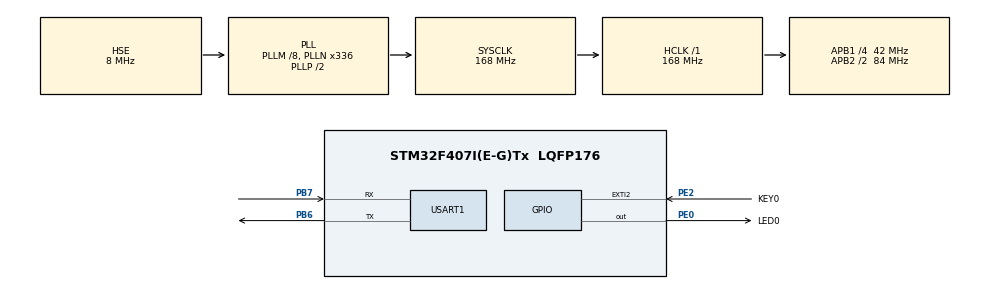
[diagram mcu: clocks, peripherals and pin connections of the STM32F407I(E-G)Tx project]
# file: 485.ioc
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Mcu.Family=STM32F4
Mcu.Name=STM32F407I(E-G)Tx
Mcu.Package=LQFP176
NVIC.EXTI2_IRQn=true\:1\:0\:true\:false\:true\:true
NVIC.PriorityGroup=NVIC_PRIORITYGROUP_2
PB6.Mode=Asynchronous
PB6.Signal=USART1_TX
PB7.Mode=Asynchronous
PB7.Signal=USART1_RX
PE0.GPIO_Label=LED0
PE0.GPIO_Speed=GPIO_SPEED_FREQ_HIGH
PE0.PinState=GPIO_PIN_SET
PE0.Signal=GPIO_Output
PE2.GPIO_Label=KEY0
PE2.GPIO_ModeDefaultEXTI=GPIO_MODE_IT_FALLING
PE2.GPIO_PuPd=GPIO_PULLUP
PE2.Signal=GPXTI2
PH0-OSC_IN.Mode=HSE-External-Oscillator
PH0-OSC_IN.Signal=RCC_OSC_IN
PH1-OSC_OUT.Mode=HSE-External-Oscillator
PH1-OSC_OUT.Signal=RCC_OSC_OUT
ProjectManager.HeapSize=0x200
ProjectManager.StackSize=0x400
ProjectManager.TargetToolchain=MDK-ARM V5
RCC.48MHZClocksFreq_Value=84000000
RCC.AHBFreq_Value=168000000
RCC.APB1CLKDivider=RCC_HCLK_DIV4
RCC.APB1Freq_Value=42000000
RCC.APB1TimFreq_Value=84000000
RCC.APB2CLKDivider=RCC_HCLK_DIV2
RCC.APB2Freq_Value=84000000
RCC.APB2TimFreq_Value=168000000
RCC.CortexFreq_Value=168000000
RCC.HCLKFreq_Value=168000000
RCC.HSE_VALUE=8000000
RCC.HSI_VALUE=16000000
RCC.LSE_VALUE=32768
RCC.PLLM=8
RCC.PLLN=336
RCC.PLLSourceVirtual=RCC_PLLSOURCE_HSE
RCC.SYSCLKFreq_VALUE=168000000
RCC.SYSCLKSource=RCC_SYSCLKSOURCE_PLLCLK
RCC.VCOOutputFreq_Value=336000000
USART1.VirtualMode=VM_ASYNC
board=485

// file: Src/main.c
/**
  ******************************************************************************
  * @file           : main.c
  * @brief          : Main program body
  ******************************************************************************
  ** This notice applies to any and all portions of this file
  * that are not between comment pairs USER CODE BEGIN and
  * USER CODE END. Other portions of this file, whether
  * inserted by the user or by software development tools
  * are owned by their respective copyright owners.
  *
  * COPYRIGHT(c) 2024 STMicroelectronics
  *
  * Redistribution and use in source and binary forms, with or without modification,
  * are permitted provided that the following conditions are met:
  *   1. Redistributions of source code must retain the above copyright notice,
  *      this list of conditions and the following disclaimer.
  *   2. Redistributions in binary form must reproduce the above copyright notice,
  *      this list of conditions and the following disclaimer in the documentation
  *      and/or other materials provided with the distribution.
  *   3. Neither the name of STMicroelectronics nor the names of its contributors
  *      may be used to endorse or promote products derived from this software
  *      without specific prior written permission.
  *
  * THIS SOFTWARE IS PROVIDED BY THE COPYRIGHT HOLDERS AND CONTRIBUTORS "AS IS"
  * AND ANY EXPRESS OR IMPLIED WARRANTIES, INCLUDING, BUT NOT LIMITED TO, THE
  * IMPLIED WARRANTIES OF MERCHANTABILITY AND FITNESS FOR A PARTICULAR PURPOSE ARE
  * DISCLAIMED. IN NO EVENT SHALL THE COPYRIGHT HOLDER OR CONTRIBUTORS BE LIABLE
  * FOR ANY DIRECT, INDIRECT, INCIDENTAL, SPECIAL, EXEMPLARY, OR CONSEQUENTIAL
  * DAMAGES (INCLUDING, BUT NOT LIMITED TO, PROCUREMENT OF SUBSTITUTE GOODS OR
  * SERVICES; LOSS OF USE, DATA, OR PROFITS; OR BUSINESS INTERRUPTION) HOWEVER
  * CAUSED AND ON ANY THEORY OF LIABILITY, WHETHER IN CONTRACT, STRICT LIABILITY,
  * OR TORT (INCLUDING NEGLIGENCE OR OTHERWISE) ARISING IN ANY WAY OUT OF THE USE
  * OF THIS SOFTWARE, EVEN IF ADVISED OF THE POSSIBILITY OF SUCH DAMAGE.
  *
  ******************************************************************************
  */
#include "main.h"
#include "stm32f4xx_hal.h"

/* USER CODE BEGIN Includes */
#include "485.h"
/* USER CODE END Includes */

UART_HandleTypeDef huart1;

/* USER CODE BEGIN PV */
/* Private variables ---------------------------------------------------------*/
extern UART_HandleTypeDef g_rs458_handler;  //uart3句柄
uint8_t tx485buf[5];  //发送缓冲区
uint8_t rx485buf[5];  //接收缓冲区
uint8_t rx_num;  //接收大小
/* USER CODE END PV */

void SystemClock_Config(void);
static void MX_GPIO_Init(void);
static void MX_USART1_UART_Init(void);

/* USER CODE BEGIN PFP */
/* Private function prototypes -----------------------------------------------*/

/* USER CODE END PFP */

/* USER CODE BEGIN 0 */
int fputc(int ch, FILE *p)
{
    while(!(USART1->SR & (1<<7)));
    USART1->DR = ch;
    return ch;
}
/* USER CODE END 0 */

int main(void)
{

  /* MCU Configuration----------------------------------------------------------*/

  /* Reset of all peripherals, Initializes the Flash interface and the Systick. */
  HAL_Init();

  /* Configure the system clock */
  SystemClock_Config();

  /* Initialize all configured peripherals */
  MX_GPIO_Init();
  MX_USART1_UART_Init();
  /* USER CODE BEGIN 2 */
	rs485_init(9600);

	uint8_t i;
	for (i = 0; i < 5; i++) {
		tx485buf[i] = i; /* 填充发送缓冲区 */ /* 显示数据 */
		rx485buf[i] = 0;
	}
	//rs485_send_data(rs485buf, 5); /* 发送5个字节 */
	printf("uart1: uart1 is ok!\n");

  /* USER CODE END 2 */

  /* Infinite loop */
  /* USER CODE BEGIN WHILE */
  while (1)
  {
		//测试uart3中断
		/*
		if((__HAL_UART_GET_FLAG(&g_rs458_handler, UART_FLAG_RXNE) != RESET))  //UART3接收到数据
		{
			// RXNE 标志位被设置，表示接收到了数据
			char data = (uint8_t)(g_rs458_handler.Instance->DR & 0xFF); // 读取接收到的数据
			// 这里可以添加您对接收到的数据的处理代码
			printf("uart1: uart3 received: %c\n", data);
		}
		*/
		rs485_receive_data(rx485buf, &rx_num);
		if(rx_num){  //接收到
			printf("uart1: rx_num = %d\n", rx_num);
			printf("uart1: uart3 received: \n");
			for (i = 0; i < rx_num; i++) {
				printf("%c", rx485buf[i]);
			}printf("\n");
		}

		HAL_Delay(1000);
		//delay_us(1000000);

  /* USER CODE END WHILE */

  }

}

void SystemClock_Config(void)
{

  RCC_OscInitTypeDef RCC_OscInitStruct;
  RCC_ClkInitTypeDef RCC_ClkInitStruct;

    /**Configure the main internal regulator output voltage
    */
  __HAL_RCC_PWR_CLK_ENABLE();

  __HAL_PWR_VOLTAGESCALING_CONFIG(PWR_REGULATOR_VOLTAGE_SCALE1);

    /**Initializes the CPU, AHB and APB busses clocks
    */
  RCC_OscInitStruct.OscillatorType = RCC_OSCILLATORTYPE_HSE;
  RCC_OscInitStruct.HSEState = RCC_HSE_ON;
  RCC_OscInitStruct.PLL.PLLState = RCC_PLL_ON;
  RCC_OscInitStruct.PLL.PLLSource = RCC_PLLSOURCE_HSE;
  RCC_OscInitStruct.PLL.PLLM = 8;
  RCC_OscInitStruct.PLL.PLLN = 336;
  RCC_OscInitStruct.PLL.PLLP = RCC_PLLP_DIV2;
  RCC_OscInitStruct.PLL.PLLQ = 4;
  if (HAL_RCC_OscConfig(&RCC_OscInitStruct) != HAL_OK)
  {
    _Error_Handler(__FILE__, __LINE__);
  }

    /**Initializes the CPU, AHB and APB busses clocks
    */
  RCC_ClkInitStruct.ClockType = RCC_CLOCKTYPE_HCLK|RCC_CLOCKTYPE_SYSCLK
                              |RCC_CLOCKTYPE_PCLK1|RCC_CLOCKTYPE_PCLK2;
  RCC_ClkInitStruct.SYSCLKSource = RCC_SYSCLKSOURCE_PLLCLK;
  RCC_ClkInitStruct.AHBCLKDivider = RCC_SYSCLK_DIV1;
  RCC_ClkInitStruct.APB1CLKDivider = RCC_HCLK_DIV4;
  RCC_ClkInitStruct.APB2CLKDivider = RCC_HCLK_DIV2;

  if (HAL_RCC_ClockConfig(&RCC_ClkInitStruct, FLASH_LATENCY_5) != HAL_OK)
  {
    _Error_Handler(__FILE__, __LINE__);
  }

    /**Configure the Systick interrupt time
    */
  HAL_SYSTICK_Config(HAL_RCC_GetHCLKFreq()/1000);

    /**Configure the Systick
    */
  HAL_SYSTICK_CLKSourceConfig(SYSTICK_CLKSOURCE_HCLK);

  /* SysTick_IRQn interrupt configuration */
  HAL_NVIC_SetPriority(SysTick_IRQn, 0, 0);
}

/* USART1 init function */
static void MX_USART1_UART_Init(void)
{

  huart1.Instance = USART1;
  huart1.Init.BaudRate = 115200;
  huart1.Init.WordLength = UART_WORDLENGTH_8B;
  huart1.Init.StopBits = UART_STOPBITS_1;
  huart1.Init.Parity = UART_PARITY_NONE;
  huart1.Init.Mode = UART_MODE_TX_RX;
  huart1.Init.HwFlowCtl = UART_HWCONTROL_NONE;
  huart1.Init.OverSampling = UART_OVERSAMPLING_16;
  if (HAL_UART_Init(&huart1) != HAL_OK)
  {
    _Error_Handler(__FILE__, __LINE__);
  }

}

/** Configure pins as
        * Analog
        * Input
        * Output
        * EVENT_OUT
        * EXTI
*/
static void MX_GPIO_Init(void)
{

  GPIO_InitTypeDef GPIO_InitStruct;

  /* GPIO Ports Clock Enable */
  __HAL_RCC_GPIOE_CLK_ENABLE();
  __HAL_RCC_GPIOH_CLK_ENABLE();
  __HAL_RCC_GPIOB_CLK_ENABLE();

  /*Configure GPIO pin Output Level */
  HAL_GPIO_WritePin(LED0_GPIO_Port, LED0_Pin, GPIO_PIN_SET);

  /*Configure GPIO pin : KEY0_Pin */
  GPIO_InitStruct.Pin = KEY0_Pin;
  GPIO_InitStruct.Mode = GPIO_MODE_IT_FALLING;
  GPIO_InitStruct.Pull = GPIO_PULLUP;
  HAL_GPIO_Init(KEY0_GPIO_Port, &GPIO_InitStruct);

  /*Configure GPIO pin : LED0_Pin */
  GPIO_InitStruct.Pin = LED0_Pin;
  GPIO_InitStruct.Mode = GPIO_MODE_OUTPUT_PP;
  GPIO_InitStruct.Pull = GPIO_NOPULL;
  GPIO_InitStruct.Speed = GPIO_SPEED_FREQ_HIGH;
  HAL_GPIO_Init(LED0_GPIO_Port, &GPIO_InitStruct);

  /* EXTI interrupt init*/
  HAL_NVIC_SetPriority(EXTI2_IRQn, 1, 0);
  HAL_NVIC_EnableIRQ(EXTI2_IRQn);

}

/* USER CODE BEGIN 4 */

//延时nus
//nus为要延时的us数.
//nus:0~190887435(最大值即2^32/fac_us@fac_us=168)
static uint8_t fac_us = 168;    //这里主时钟为168M, 所以在1us内ticks会减168次

void delay_us(uint32_t nus)
{
	uint32_t ticks;
	uint32_t told,tnow,tcnt=0;
	uint32_t reload=SysTick->LOAD;				//LOAD的值
	ticks=nus*fac_us; 						         //1us需要的节拍数
	told=SysTick->VAL;        				//刚进入时的计数器值
	while(1)
	{
		tnow=SysTick->VAL;
		if(tnow!=told)
		{
			if(tnow<told)tcnt+=told-tnow;	//这里注意一下SYSTICK是一个递减的计数器就可以了.
			else tcnt+=reload-tnow+told;
			told=tnow;

			if(tcnt>=ticks)break;			//时间超过/等于要延迟的时间,则退出.
		}
	};
}
//发送
/*
void Rs485_send_data(uint8_t *buf, uint8_t len) {
	printf("uart1: uart3 start send!\n");
	HAL_UART_Transmit(&huart3, buf, len, 1000); //串口3发送数据
}
*/
void HAL_GPIO_EXTI_Callback(uint16_t GPIO_Pin)  //按键中断处理函数
{
    if(GPIO_Pin == KEY0_Pin)
    {
      //KEY0是否按下
			if(GPIO_PIN_RESET == HAL_GPIO_ReadPin(KEY0_GPIO_Port, KEY0_Pin)){
				HAL_Delay(20);  //去抖动
				if(GPIO_PIN_RESET == HAL_GPIO_ReadPin(KEY0_GPIO_Port, KEY0_Pin)){
					rs485_send_data(tx485buf, 5); /* 发送5个字节 */
					//Rs485_send_data(tx485buf, 5); /* 发送5个字节 */
					printf("uart1: uart3 send ok\n");
				}
			}
    }
}
/*
void HAL_UART_RxCpltCallback(UART_HandleTypeDef* huart){  //接收完成后调用
	if(huart == &huart3){
		printf("uart1: uart3 callback!\n");

	}

}
*/
/* USER CODE END 4 */

void _Error_Handler(char *file, int line)
{
  while(1)
  {
  }
}

/************************ (C) COPYRIGHT STMicroelectronics *****END OF FILE****/
